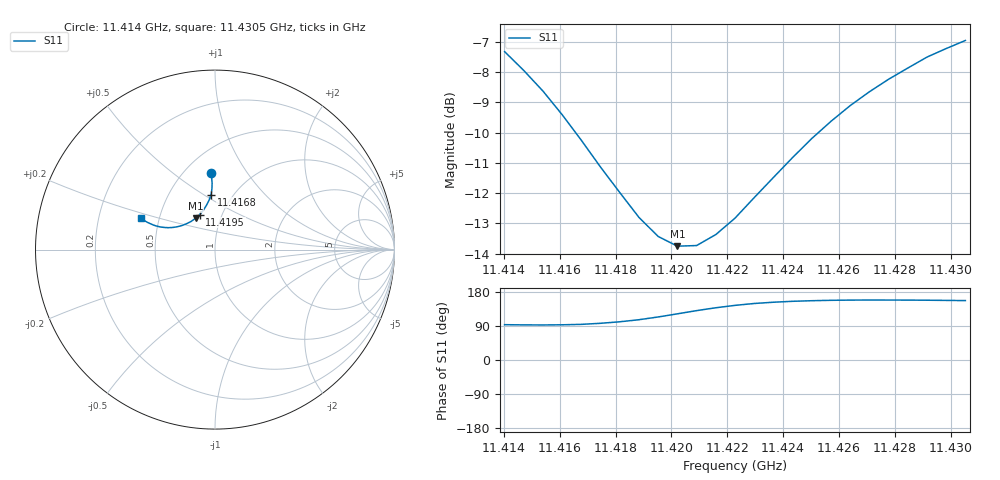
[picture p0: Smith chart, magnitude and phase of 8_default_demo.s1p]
# Hz S MA R 50
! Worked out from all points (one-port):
!   25 points, 11.414 GHz to 11.4305 GHz, reference 50 ohm
!   lowest |S11| = -13.8 dB at 11.4202 GHz (marker M1), VSWR 1.52, Z = 38.1 + j13.9 ohm
!   |S11| at or under -10 dB: 11.41657 GHz to 11.42527 GHz (8.7 MHz wide, 0.0762 % of centre)
!   S11 on the Smith chart (normalised r, x): 11.414 GHz: 0.66, +0.70; 11.4168 GHz: 0.80, +0.54; 11.4195 GHz: 0.79, +0.32; 11.4305 GHz: 0.39, +0.17
1.141403e10  0.4301 93.2
1.141472e10  0.4003 92.6
1.14154e10  0.3701 92.5
1.141609e10  0.3383 92.9
1.141678e10  0.3069 94.0
1.141747e10  0.2772 96.9
1.141815e10  0.2517 100.8
1.141884e10  0.229 106.3
1.141953e10  0.2129 113.6
1.142022e10  0.2053 121.8
1.14209e10  0.2057 130.3
1.142159e10  0.2145 137.9
1.142228e10  0.2283 144.2
1.142297e10  0.2469 149.1
1.142365e10  0.2665 152.5
1.142434e10  0.2875 154.9
1.142503e10  0.3091 156.5
1.142572e10  0.33 157.5
1.14264e10  0.3503 158.1
1.142709e10  0.3692 158.3
1.142778e10  0.3872 158.2
1.142847e10  0.4041 158.1
1.142915e10  0.4213 157.7
1.142984e10  0.4352 157.3
1.143053e10  0.4488 156.8
